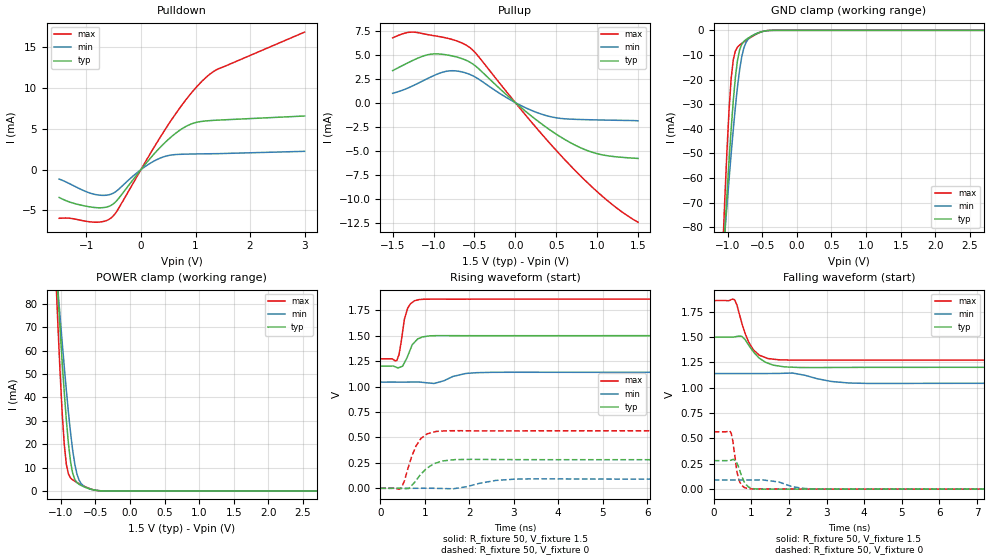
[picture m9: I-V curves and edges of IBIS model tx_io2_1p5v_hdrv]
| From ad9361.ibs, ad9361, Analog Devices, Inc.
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|   Model: SCKI_io_1p5v_hdrv
[Model]   tx_io2_1p5v_hdrv
Model_type  I/O
Vinl=0.3
Vinh=1.2
Vref=0
Vmeas=0.75
Rref=1G
Cref=3pF
|variable   typ   min   max
C_comp_pullup   1.044407E-12 9.207249E-13 1.086820E-12
C_comp_pulldown   5.614955E-13 5.477050E-13 6.365795E-13
[C Comp Corner]
C_comp_pullup   9.207249E-13 1.086820E-12  1.044407E-12
C_comp_pulldown   5.477050E-13 6.365795E-13 5.614955E-13
[Temperature Range]   25   85   -40
[Voltage Range]   1.5   1.14   1.86
[Power Clamp Reference] 1.5   1.14   1.86
[GND Clamp Reference]   0   0   0
[Pullup Reference]   1.5   1.14   1.86
[Pulldown Reference]   0   0   0
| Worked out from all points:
|   slope of the pulldown table from 0 to 0.225 V, typ, clamps not added: 125 ohm
|   slope of the pullup table from 0 to 0.225 V, typ, clamps not added: 142 ohm
|   GND clamp passes 1 mA (typ) near -0.55 V on its own axis
|   POWER clamp passes 1 mA (typ) near -0.59 V on its own axis
|   rising waveform, R_fixture 50, V_fixture 1.5: 20-80 % time 205ps typ, 386ps min, 146ps max; typ from 1.2 V to 1.5 V
|   falling waveform, R_fixture 50, V_fixture 1.5: 20-80 % time 440ps typ, 666ps min, 358ps max; typ from 1.5 V to 1.2 V
|   rising waveform, R_fixture 50, V_fixture 0: 20-80 % time 377ps typ, 570ps min, 289ps max; typ from 0 V to 0.281 V
|   falling waveform, R_fixture 50, V_fixture 0: 20-80 % time 176ps typ, 489ps min, 141ps max; typ from 0.281 V to 0 V
[Power clamp]
| Voltage   I(typ)   I(min)   I(max)
-1.5V     331.3mA    269.7mA    432.3mA
-1.071V   99.26mA    97.51mA    92.08mA
-1.041V   84.06mA    85.98mA    70.82mA
-979.6mV  55.23mA    63.64mA    33.54mA
-949mV    42mA       52.98mA    19.81mA
-918.4mV  30.03mA    42.8mA     11.19mA
-857.1mV  12.27mA    24.6mA     5.503mA
-826.5mV  7.441mA    17.15mA    4.703mA
-734.7mV  2.813mA    4.584mA    3.121mA
-612.2mV  1.192mA    1.167mA    1.361mA
-398mV    30.62uA    37uA       24.37uA
3V        -1.479nA   -13.11nA   -49.44pA
[GND Clamp]
| Voltage   I(typ)   I(min)   I(max)
-1.5V     -326.9mA   -265.3mA   -428.3mA
-1.071V   -96.26mA   -93.95mA   -89.41mA
-1.041V   -81.22mA   -82.55mA   -68.41mA
-979.6mV  -52.82mA   -60.55mA   -32.25mA
-949mV    -39.93mA   -50.1mA    -19.49mA
-918.4mV  -28.43mA   -40.19mA   -11.85mA
-857.1mV  -12.07mA   -22.79mA   -6.821mA
-826.5mV  -7.885mA   -15.9mA    -5.978mA
-765.3mV  -4.469mA   -7.087mA   -4.699mA
-704.1mV  -3.151mA   -3.577mA   -3.535mA
-367.3mV  -23.96uA   -30.7uA    -14.78uA
3V        1.335nA    30.16nA    47.92pA
[Pullup]
| Voltage   I(typ)   I(min)   I(max)
-1.5V     3.332mA    971.1uA    6.736mA
-1.286V   4.259mA    1.62mA     7.331mA
-1.01V    5.062mA    2.761mA    6.985mA
-795.9mV  4.9mA      3.313mA    6.626mA
-551mV    4.189mA    2.916mA    5.692mA
-91.84mV  691.9uA    442uA      966.4uA
153.1mV   -1.099mA   -644.4uA   -1.581mA
398mV     -2.691mA   -1.395mA   -4.006mA
642.9mV   -4.024mA   -1.705mA   -6.283mA
1.01V     -5.334mA   -1.802mA   -9.342mA
1.255V    -5.657mA   -1.84mA    -11.07mA
1.5V      -5.808mA   -1.891mA   -12.44mA
|3.000000   -6.595962E-03   -2.351331E-03   -2.033422E-02
[Pulldown]
| Voltage   I(typ)   I(min)   I(max)
-1.5V     -3.423mA   -1.163mA   -5.975mA
-1.255V   -4.095mA   -1.913mA   -6.015mA
-918.4mV  -4.593mA   -2.915mA   -6.42mA
-704.1mV  -4.672mA   -3.16mA    -6.385mA
-551mV    -4.397mA   -3.021mA   -5.952mA
-428.6mV  -3.691mA   -2.529mA   -4.957mA
0V        -313.8nA   -636.3nA   -151nA
336.7mV   2.616mA    1.362mA    3.79mA
765.3mV   5.06mA     1.884mA    8.043mA
1.133V    5.925mA    1.931mA    10.93mA
1.408V    6.067mA    1.954mA    12.32mA
3V        6.573mA    2.239mA    16.87mA
[Rising Waveform]
R_fixture = 50
V_fixture = 1.5
V_fixture_min = 1.14
V_fixture_max = 1.86
| time   V(typ)   V(min)   V(max)
0s        1.201V     1.044V     1.272V
370.4ps   1.187V     1.044V     1.257V
420.1ps   1.187V     1.044V     1.315V
539.5ps   1.233V     1.044V     1.66V
613.7ps   1.299V     1.044V     1.77V
716.9ps   1.412V     1.044V     1.827V
872.7ps   1.474V     1.044V     1.855V
1.208ns   1.499V     1.03V      1.859V
2.17ns    1.5V       1.136V     1.859V
6.965ns   1.5V       1.14V      1.86V
[Falling Waveform]
R_fixture = 50
V_fixture = 1.5
V_fixture_min = 1.14
V_fixture_max = 1.86
| time   V(typ)   V(min)   V(max)
0s        1.5V       1.14V      1.86V
556.8ps   1.502V     1.14V      1.867V
617.2ps   1.506V     1.14V      1.813V
741.5ps   1.508V     1.14V      1.643V
936.9ps   1.415V     1.14V      1.443V
1.207ns   1.293V     1.14V      1.321V
1.439ns   1.242V     1.14V      1.288V
2.092ns   1.203V     1.145V     1.273V
3.589ns   1.201V     1.047V     1.273V
9.944ns   1.201V     1.044V     1.273V
[Rising Waveform]
R_fixture = 50
V_fixture = 0
V_fixture_min = 0
V_fixture_max = 0
| time   V(typ)   V(min)   V(max)
0s        6.841nV    24.24nV    1.385nV
477.5ps   -1.961mV   1.476uV    5.321mV
639ps     -1.056mV   -9.058uV   221.2mV
801.2ps   76.58mV    -15.8uV    416mV
912.5ps   138.1mV    131.9uV    490mV
1.055ns   199.5mV    384.4uV    535.7mV
1.256ns   248.8mV    -505.5uV   558.9mV
1.68ns    281.9mV    -2.155mV   565.7mV
3.048ns   281.7mV    90.83mV    564.5mV
11.39ns   281.2mV    90.34mV    565.6mV
[Falling Waveform]
R_fixture = 50
V_fixture = 0
V_fixture_min = 0
V_fixture_max = 0
| time   V(typ)   V(min)   V(max)
0s        281.3mV    90.43mV    565.7mV
461.7ps   286.3mV    90.43mV    553.3mV
504.5ps   292mV      90.43mV    477.7mV
613.1ps   256.5mV    90.43mV    172.7mV
679.9ps   193.9mV    90.43mV    77.44mV
825.9ps   56.75mV    90.44mV    13.75mV
901.3ps   29.55mV    90.44mV    5.503mV
1.171ns   370.9uV    90.77mV    1.865mV
2.729ns   334.3uV    1.31mV     1.036mV
14.81ns   17.28uV    25.85uV    53.82uV
[Ramp]
| variable   typ   min   max
dV/dt_r  0.168770/3.77E-10   0.054238/5.7E-10   0.339407/2.89E-10
dV/dt_f  0.179148/4.4E-10   0.057608/6.66E-10   0.352460/3.58E-10
R_load = 50
|   End of [Model]: io1_1p5v_hdrv
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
